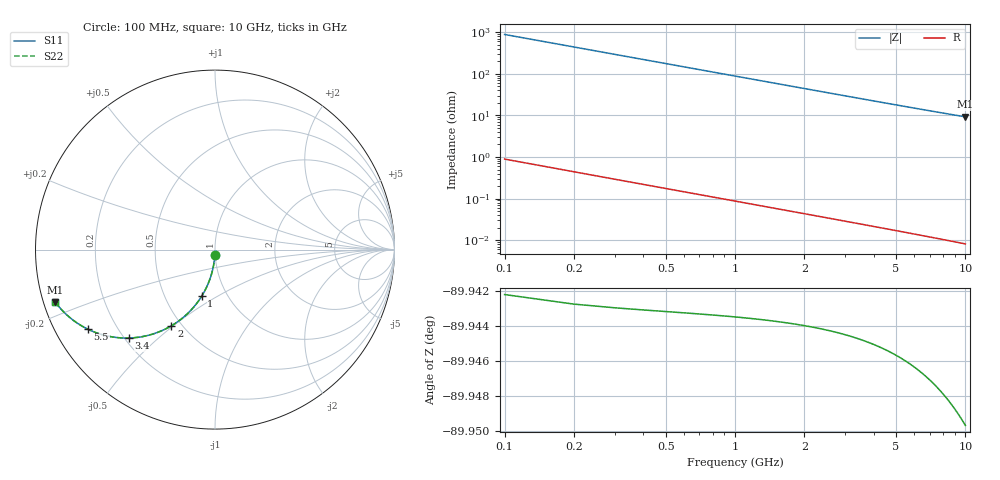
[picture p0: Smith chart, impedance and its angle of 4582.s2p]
# Hz S RI R 50.00
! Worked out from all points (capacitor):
!   100 points, 100 MHz to 10 GHz, reference 50 ohm
!   read as one part in shunt: C = 1.8 pF near 100 MHz
!   lowest |Z| = 9.25 ohm at 10 GHz (marker M1)
!   S11 on the Smith chart (normalised r, x): 100 MHz: 1.00, -0.06; 1 GHz: 0.76, -0.43; 2 GHz: 0.44, -0.49; 3.4 GHz: 0.22, -0.40; 5.5 GHz: 0.10, -0.29; 10 GHz: 0.03, -0.16
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1e8  -0.000793 -0.0281  0.9991 -0.0284  0.9991 -0.0284  -0.000793 -0.0281
2e8  -0.00321 -0.056  0.9967 -0.0568  0.9967 -0.0568  -0.00321 -0.056
3e8  -0.00719 -0.0837  0.9927 -0.0848  0.9927 -0.0848  -0.00719 -0.0837
4e8  -0.0127 -0.1109  0.9872 -0.1124  0.9872 -0.1124  -0.0127 -0.1109
5e8  -0.0197 -0.1377  0.9802 -0.1395  0.9802 -0.1395  -0.0197 -0.1377
6e8  -0.0281 -0.1638  0.9718 -0.166  0.9718 -0.166  -0.0281 -0.1638
7e8  -0.0378 -0.1891  0.9621 -0.1917  0.9621 -0.1917  -0.0378 -0.1891
8e8  -0.0488 -0.2136  0.9511 -0.2166  0.9511 -0.2166  -0.0488 -0.2136
1e9  -0.0742 -0.2598  0.9257 -0.2636  0.9257 -0.2636  -0.0742 -0.2598
1.2e9  -0.1034 -0.3019  0.8965 -0.3063  0.8965 -0.3063  -0.1034 -0.3019
1.4e9  -0.1357 -0.3394  0.8643 -0.3446  0.8643 -0.3446  -0.1357 -0.3394
1.8e9  -0.2059 -0.4005  0.794 -0.4072  0.794 -0.4072  -0.2059 -0.4005
2e9  -0.2424 -0.4243  0.7575 -0.4318  0.7575 -0.4318  -0.2424 -0.4243
2.3e9  -0.2973 -0.4523  0.7026 -0.4609  0.7026 -0.4609  -0.2973 -0.4523
2.7e9  -0.3682 -0.4768  0.6317 -0.4869  0.6317 -0.4869  -0.3682 -0.4768
3.4e9  -0.4802 -0.4927  0.5197 -0.5055  0.5197 -0.5055  -0.4802 -0.4927
4.2e9  -0.585 -0.4842  0.4148 -0.5002  0.4148 -0.5002  -0.585 -0.4842
5.1e9  -0.6753 -0.458  0.3244 -0.4774  0.3244 -0.4774  -0.6753 -0.458
5.5e9  -0.7076 -0.4438  0.2921 -0.4648  0.2921 -0.4648  -0.7076 -0.4438
6.7e9  -0.7825 -0.3989  0.2171 -0.4248  0.2171 -0.4248  -0.7825 -0.3989
8.4e9  -0.8503 -0.3395  0.1491 -0.3724  0.1491 -0.3724  -0.8503 -0.3395
1e10  -0.8901 -0.2919  0.1091 -0.3315  0.1091 -0.3315  -0.8901 -0.2919
